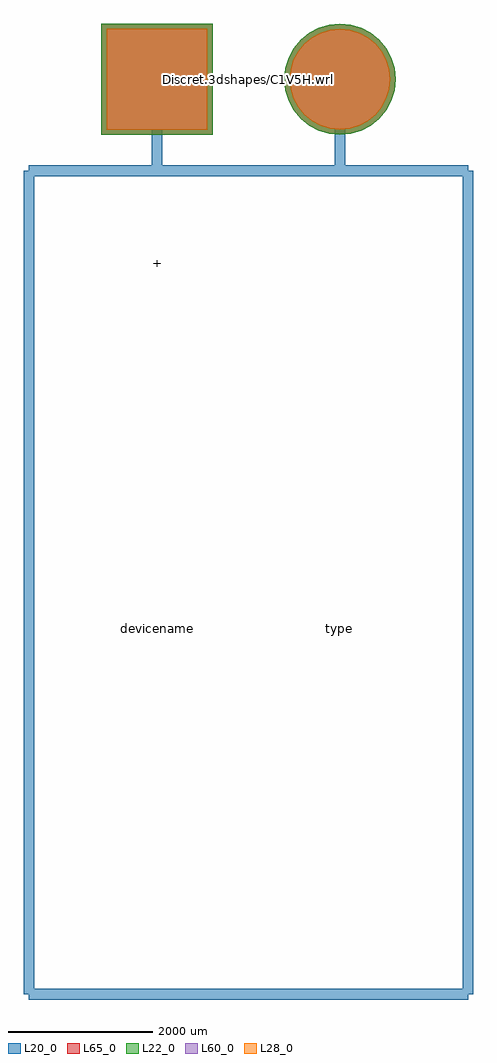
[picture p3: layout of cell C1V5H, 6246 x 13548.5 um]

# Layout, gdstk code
import gdstk
lib = gdstk.Library(unit=1e-6, precision=1e-09)
def R(c, l, rs):  # rectangles x0, y0, x1, y1
    for r in rs: c.add(gdstk.rectangle(r[:2], r[2:], *l))
def P(c, l, *ps):  # polygons
    for p in ps: c.add(gdstk.Polygon(p, *l))
L20_0 = (20, 0)
L22_0 = (22, 0)
L28_0 = (28, 0)
L60_0 = (60, 0)
L65_0 = (65, 0)

c1v5h = lib.new_cell('C1V5H')
R(c1v5h, L22_0, [(-2043.5,-773.5,-496.5,773.5)])
P(c1v5h, L22_0, [(2043.5,0),(2028.637,150.902),(1984.621,296.006),(1913.142,429.734),(1816.947,546.947),(1699.734,643.142),(1566.006,714.621),(1420.902,758.637),(1270,773.5),(1119.098,758.637),(973.994,714.621),(840.266,643.142),(723.053,546.947),(626.858,429.734),(555.379,296.006),(511.363,150.902),(496.5,0),(511.363,-150.902),(555.379,-296.006),(626.858,-429.734),(723.053,-546.947),(840.266,-643.142),(973.994,-714.621),(1119.098,-758.637),(1270,-773.5),(1420.902,-758.637),(1566.006,-714.621),(1699.734,-643.142),(1816.947,-546.947),(1913.142,-429.734),(1984.621,-296.006),(2028.637,-150.902)])
R(c1v5h, L28_0, [(-1968.5,-698.5,-571.5,698.5)])
P(c1v5h, L28_0, [(1968.5,0),(1955.079,136.271),(1915.33,267.304),(1850.782,388.066),(1763.914,493.914),(1658.066,580.782),(1537.304,645.33),(1406.271,685.079),(1270,698.5),(1133.729,685.079),(1002.696,645.33),(881.934,580.782),(776.086,493.914),(689.218,388.066),(624.67,267.304),(584.921,136.271),(571.5,0),(584.921,-136.271),(624.67,-267.304),(689.218,-388.066),(776.086,-493.914),(881.934,-580.782),(1002.696,-645.33),(1133.729,-685.079),(1270,-698.5),(1406.271,-685.079),(1537.304,-645.33),(1658.066,-580.782),(1763.914,-493.914),(1850.782,-388.066),(1915.33,-267.304),(1955.079,-136.271)])
R(c1v5h, L60_0, [(-1968.5,-698.5,-571.5,698.5)])
P(c1v5h, L60_0, [(1968.5,0),(1955.079,136.271),(1915.33,267.304),(1850.782,388.066),(1763.914,493.914),(1658.066,580.782),(1537.304,645.33),(1406.271,685.079),(1270,698.5),(1133.729,685.079),(1002.696,645.33),(881.934,580.782),(776.086,493.914),(689.218,388.066),(624.67,267.304),(584.921,136.271),(571.5,0),(584.921,-136.271),(624.67,-267.304),(689.218,-388.066),(776.086,-493.914),(881.934,-580.782),(1002.696,-645.33),(1133.729,-685.079),(1270,-698.5),(1406.271,-685.079),(1537.304,-645.33),(1658.066,-580.782),(1763.914,-493.914),(1850.782,-388.066),(1915.33,-267.304),(1955.079,-136.271)])
R(c1v5h, L65_0, [(-2043.5,-773.5,-496.5,773.5)])
P(c1v5h, L65_0, [(2043.5,0),(2028.637,150.902),(1984.621,296.006),(1913.142,429.734),(1816.947,546.947),(1699.734,643.142),(1566.006,714.621),(1420.902,758.637),(1270,773.5),(1119.098,758.637),(973.994,714.621),(840.266,643.142),(723.053,546.947),(626.858,429.734),(555.379,296.006),(511.363,150.902),(496.5,0),(511.363,-150.902),(555.379,-296.006),(626.858,-429.734),(723.053,-546.947),(840.266,-643.142),(973.994,-714.621),(1119.098,-758.637),(1270,-773.5),(1420.902,-758.637),(1566.006,-714.621),(1699.734,-643.142),(1816.947,-546.947),(1913.142,-429.734),(1984.621,-296.006),(2028.637,-150.902)])
c1v5h.add(gdstk.FlexPath([(1270,0),(1270,-1270)], 149.998, ends="flush", simple_path=True, layer=20, datatype=0))  # L20_0
c1v5h.add(gdstk.FlexPath([(-1270,0),(-1270,-1270)], 149.998, ends="flush", simple_path=True, layer=20, datatype=0))  # L20_0
c1v5h.add(gdstk.FlexPath([(3048,-1270),(3048,-12700)], 149.998, ends="flush", simple_path=True, layer=20, datatype=0))  # L20_0
c1v5h.add(gdstk.FlexPath([(-3048,-12700),(-3048,-1270)], 149.998, ends="flush", simple_path=True, layer=20, datatype=0))  # L20_0
c1v5h.add(gdstk.FlexPath([(-3048,-1270),(3048,-1270)], 149.998, ends="flush", simple_path=True, layer=20, datatype=0))  # L20_0
c1v5h.add(gdstk.FlexPath([(-3048,-12700),(3048,-12700)], 149.998, ends="flush", simple_path=True, layer=20, datatype=0))  # L20_0
c1v5h.add(gdstk.Label('Discret.3dshapes/C1V5H.wrl', (0,0), layer=12, texttype=0))
c1v5h.add(gdstk.Label('2', (1270,0), layer=28, texttype=0))
c1v5h.add(gdstk.Label('1', (-1270,0), layer=28, texttype=0))
c1v5h.add(gdstk.Label('+', (-1270,-2540), layer=9, texttype=0))
c1v5h.add(gdstk.Label('type', (1270,-7620), layer=9, texttype=0))
c1v5h.add(gdstk.Label('devicename', (-1270,-7620), layer=9, texttype=0))

lib.write_gds('C1V5H.gds')
